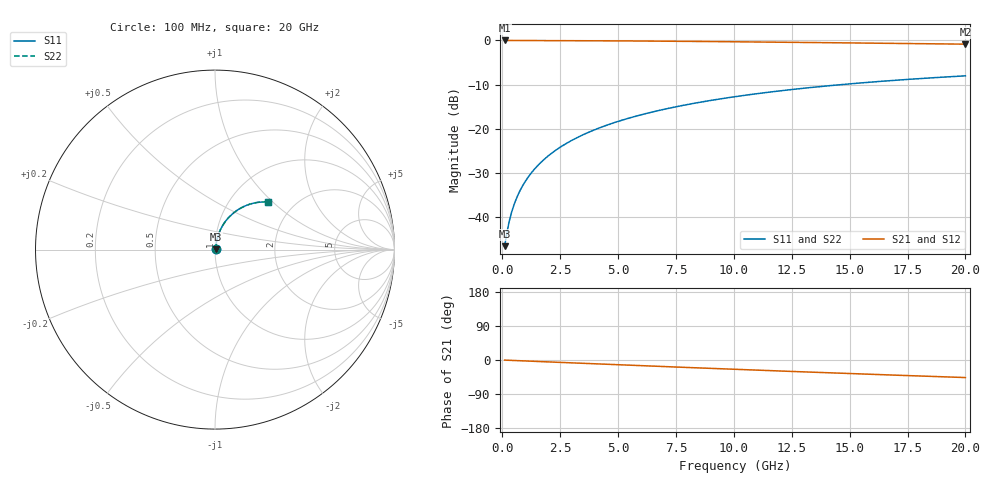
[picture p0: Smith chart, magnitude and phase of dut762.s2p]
! Touchstone file exported from HFSS 2026.1.0
!  File:  C:/ffzhzh/LocalFiles/Ansys_Project_Files/temp_train_BSMRDL_762_1783169058_22436.aedt
!  Generated:  08:45:30 PM Jul  4, 2026
!  Design:  BSMRDL
!  Project:  temp_train_BSMRDL_762_1783169058_22436
! Variables:
!  h_bsmrdl = 3.46um
!  h_ox = 20um
!  h_rdl = 5um
!  h_sub = 80um
!  h_tmrdl = 5um
!  h_tsv = 80um
!  h_via = 3um
!  l_bsmrdl = 702.95um
!  l_sub = 1102.95um
!  l_tmrdl = 200um
!  m_sub = 200um
!  pitch = 41.95um
!  r_tsv = 6um
!  s_tmrdl = 10um
!  w_bsmrdl = 19.5um
!  w_sub = 500um
!  w_tmrdl = 12um
!  x_tsv_center1 = 206um
!  x_tsv_center2 = 928.45um
!  x_tsv_center3 = 1140.45um
!  x_tsv_center4 = 1862.9um
!  x_tsv_center5 = 2074.9um
!  x_tsv_center6 = 2797.35um
# GHz S MA R 50.000000
! Terminal data exported
! Port[1] = BSM_RDL1_1_T1
! Port[2] = BSM_RDL1_1_T2
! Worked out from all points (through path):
!   200 points, 100 MHz to 20 GHz, reference 50 ohm
!   highest |S21| = -0.03 dB at 100 MHz (marker M1); lowest = -0.9 dB at 20 GHz (marker M2)
!   group delay of S21, straight-line fit = 6.44 ps
!   lowest |S11| = -46.5 dB at 100 MHz (marker M3), VSWR 1.01, Z = 50.4 + j0.275 ohm
!   |S11| at or under -10 dB: start of sweep to 14.65 GHz
!   |S22| runs from -46.5 to -8.0 dB; largest |S21 - S12| = 2.7e-15
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0.1  0.004729 35.2  0.9961 -0.3  0.9961 -0.3  0.004729 35.2
! Gamma 0 0 0 0
! Port Impedance 50 0 50 0
0.2  0.00674 53.0  0.996 -0.5  0.996 -0.5  0.00674 53.0
0.3  0.009034 61.6  0.9958 -0.8  0.9958 -0.8  0.009034 61.6
0.4  0.01139 66.4  0.9956 -1.0  0.9956 -1.0  0.01138 66.4
0.5  0.01375 69.6  0.9954 -1.3  0.9954 -1.3  0.01375 69.6
0.6  0.01611 71.8  0.9953 -1.5  0.9953 -1.5  0.01611 71.8
0.8  0.02087 74.7  0.995 -2.0  0.995 -2.0  0.02087 74.7
1.1  0.02807 77.0  0.9947 -2.8  0.9947 -2.8  0.02806 77.0
1.3  0.03289 77.9  0.9945 -3.3  0.9945 -3.3  0.03289 77.9
1.6  0.04016 78.6  0.9941 -4.1  0.9941 -4.1  0.04016 78.6
2.1  0.05229 78.8  0.9933 -5.3  0.9933 -5.3  0.05229 78.8
2.7  0.06682 78.3  0.9922 -6.8  0.9922 -6.8  0.06682 78.3
3.5  0.08603 77.1  0.9903 -8.8  0.9903 -8.8  0.08603 77.2
4.2  0.1026 75.8  0.9883 -10.5  0.9883 -10.5  0.1026 75.8
5  0.1213 74.2  0.9856 -12.5  0.9856 -12.5  0.1213 74.2
5.9  0.142 72.2  0.9823 -14.7  0.9823 -14.7  0.142 72.2
6.8  0.1621 70.2  0.9786 -16.9  0.9786 -16.9  0.1621 70.2
8.3  0.1947 66.8  0.9717 -20.5  0.9717 -20.5  0.1947 66.8
10.1  0.2318 62.8  0.9626 -24.7  0.9626 -24.7  0.2318 62.8
13.4  0.2944 55.5  0.9441 -32.2  0.9441 -32.2  0.2944 55.6
16.7  0.3495 48.6  0.9244 -39.4  0.9244 -39.4  0.3495 48.6
20  0.3969 41.8  0.9048 -46.3  0.9048 -46.3  0.3969 41.9
